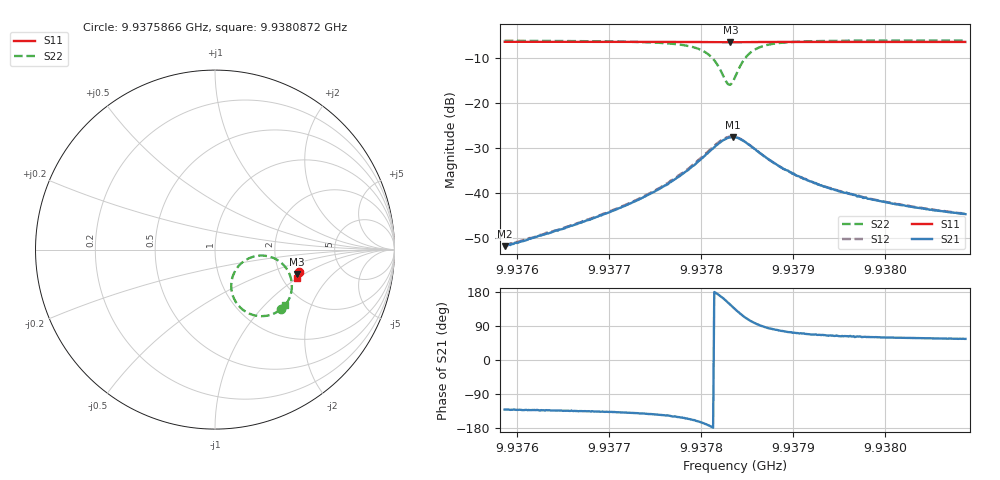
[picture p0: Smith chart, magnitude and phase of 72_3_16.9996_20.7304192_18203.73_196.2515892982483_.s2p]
#  HZ  S  RI  R  50.00
! Rohde & Schwarz Vector Network Analyzer
! Rohde-Schwarz,ZNB20-2Port,1311601062101988,3.16
! Created: UTC 3/20/2024, 10:55:16 PM
! freq[Hz]  re:S11  im:S11  re:S21  im:S21  re:S12  im:S12  re:S22  im:S22
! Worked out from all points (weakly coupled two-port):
!   401 points, 9.9375866 GHz to 9.9380872 GHz, reference 50 ohm
!   highest |S21| = -27.58 dB at 9.9378344 GHz (marker M1); lowest = -51.9 dB at 9.9375866 GHz (marker M2)
!   lowest |S11| = -6.4 dB at 9.9378319 GHz (marker M3), VSWR 2.82, Z = 122 - j43.9 ohm
!   |S11| at or under -10 dB: nowhere
!   |S22| runs from -15.9 to -6.0 dB; largest |S21 - S12| = 0.0024
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9.93758656e9  0.4656 -0.1249  -0.00166 -0.00193  -0.00174 -0.0019  0.3658 -0.3336
9.93767042e9  0.4637 -0.1306  -0.00329 -0.00332  -0.00342 -0.00333  0.3466 -0.3468
9.93771799e9  0.4622 -0.134  -0.00544 -0.00471  -0.00565 -0.00474  0.3251 -0.3577
9.93775429e9  0.4611 -0.1367  -0.00898 -0.00639  -0.00929 -0.00637  0.2925 -0.3677
9.93778433e9  0.4595 -0.1389  -0.0157 -0.00768  -0.0164 -0.0074  0.2336 -0.369
9.9378031e9  0.4581 -0.1401  -0.0248 -0.00564  -0.0258 -0.00522  0.1621 -0.3403
9.93781312e9  0.4569 -0.1403  -0.0313 -0.000739  -0.0326 0.00031  0.1145 -0.2892
9.93782063e9  0.4561 -0.14  -0.0357 0.00676  -0.0368 0.00847  0.0913 -0.2199
9.93782814e9  0.4555 -0.1393  -0.0365 0.0177  -0.0364 0.0199  0.1066 -0.1302
9.93783189e9  0.4554 -0.1387  -0.0342 0.0234  -0.0338 0.0257  0.1342 -0.0883
9.93783439e9  0.4557 -0.1385  -0.032 0.0269  -0.0313 0.029  0.1596 -0.0656
9.9378369e9  0.4559 -0.1382  -0.0291 0.0298  -0.0279 0.0318  0.1885 -0.0487
9.93784316e9  0.4567 -0.138  -0.0203 0.0338  -0.0188 0.0351  0.2639 -0.0332
9.93784816e9  0.4574 -0.138  -0.0137 0.0342  -0.0121 0.0349  0.3162 -0.0431
9.93785442e9  0.4581 -0.1385  -0.00709 0.0322  -0.00584 0.0327  0.364 -0.0693
9.93786193e9  0.4585 -0.1393  -0.00184 0.029  -0.000872 0.0288  0.398 -0.1055
9.9378732e9  0.459 -0.1404  0.00247 0.0236  0.00303 0.0235  0.4209 -0.1526
9.93788947e9  0.4588 -0.1422  0.00444 0.0179  0.00499 0.0178  0.4284 -0.1993
9.93792076e9  0.4583 -0.1449  0.00511 0.0122  0.00532 0.0121  0.4224 -0.2473
9.93795581e9  0.4574 -0.1477  0.00452 0.00894  0.00492 0.0089  0.4129 -0.2737
9.93800462e9  0.4563 -0.151  0.00396 0.00664  0.00413 0.00663  0.4024 -0.2932
9.93808723e9  0.4541 -0.1565  0.00326 0.00479  0.00339 0.0048  0.3903 -0.3108
